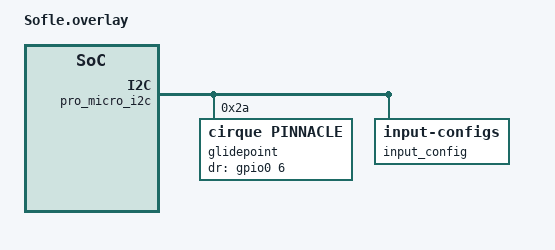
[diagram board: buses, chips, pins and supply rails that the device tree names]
&pro_micro_i2c {
    status = "okay";
    glidepoint: glidepoint@2a {
        compatible = "cirque,pinnacle";
        reg = <0x2a>;
        status = "okay";
        dr-gpios = <&gpio0 6 (GPIO_ACTIVE_HIGH)>;

        sensitivity = "4x";
        sleep;
        no-taps;
    };

    // Rotation config, from Pete
    // This will change in the future
    // https://discord.com/channels/719497620560543766/845285481888743434/1206407883777114182
    input_config {
        compatible = "zmk,input-configs";
    
        cirque_config {
            device = <&glidepoint>;
            xy-swap;
            y-invert;
            x-invert;
        };
    };
};
